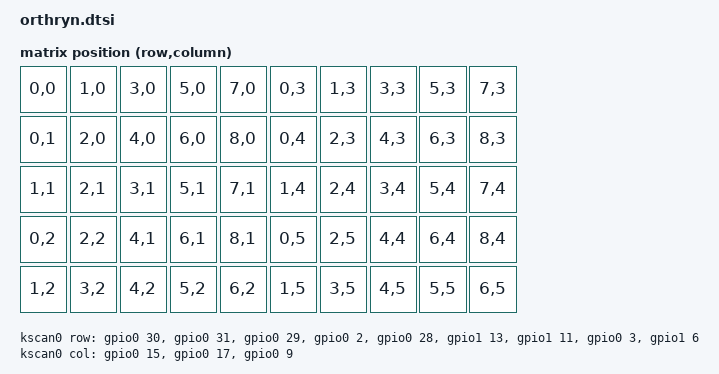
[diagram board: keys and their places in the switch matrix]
/*
 * Copyright (c) 2020 The ZMK Contributors
 *
 * SPDX-License-Identifier: MIT
 */

#include <dt-bindings/zmk/matrix_transform.h>

/ {
	chosen {
		zmk,kscan = &kscan0;
		zmk,matrix_transform = &default_transform;
	};

	kscan0: kscan {
		compatible = "zmk,kscan-gpio-matrix";
		label = "KSCAN";

		diode-direction = "col2row";
		row-gpios
			= <&gpio0 30 (GPIO_ACTIVE_HIGH | GPIO_PULL_DOWN)>
			, <&gpio0 31 (GPIO_ACTIVE_HIGH | GPIO_PULL_DOWN)>
			, <&gpio0 29 (GPIO_ACTIVE_HIGH | GPIO_PULL_DOWN)>
			, <&gpio0 2  (GPIO_ACTIVE_HIGH | GPIO_PULL_DOWN)>
			, <&gpio0 28 (GPIO_ACTIVE_HIGH | GPIO_PULL_DOWN)>
			, <&gpio1 13 (GPIO_ACTIVE_HIGH | GPIO_PULL_DOWN)>
			, <&gpio1 11 (GPIO_ACTIVE_HIGH | GPIO_PULL_DOWN)>
			, <&gpio0 3  (GPIO_ACTIVE_HIGH | GPIO_PULL_DOWN)>
			, <&gpio1 6  (GPIO_ACTIVE_HIGH | GPIO_PULL_DOWN)>
			;
		col-gpios
			= <&gpio0 15 GPIO_ACTIVE_HIGH>
			, <&gpio0 17 GPIO_ACTIVE_HIGH>
			, <&gpio0 9  GPIO_ACTIVE_HIGH>
			;
	};

	default_transform: keymap_transform_0 {
		compatible = "zmk,matrix-transform";
		columns = <10>;
		rows = <5>;
// OLD
// | MX8  | MX9  | MX17 | MX18 | MX25 |  MX33 | MX34 | MX42 | MX43 | MX50 | MX58 | MX59 | MX67 | MX68 | MX75 | 
// | MX6  | MX7  | MX15 | MX16 | MX24 |  MX31 | MX32 | MX40 | MX41 | MX49 | MX56 | MX57 | MX65 | MX66 | MX74 | 
// | MX4  | MX5  | MX13 | MX14 | MX23 |  MX29 | MX30 | MX38 | MX39 | MX48 | MX54 | MX55 | MX63 | MX64 | MX73 |
// | MX2  | MX3  | MX12 | MX21 | MX22 |  MX27 | MX28 | MX37 | MX46 | MX47 | MX52 | MX53 | MX62 | MX71 | MX72 |
// | MX1  | MX10 | MX11 | MX19 | MX20 |  MX26 | MX35 | MX36 | MX44 | MX45 | MX51 | MX60 | MX61 | MX69 | MX70 |

// NEW
// | MX1  | MX2  | MX4  | MX6  | MX8  | MX26 | MX27 | MX29 | MX31 | MX33
// | MX10 | MX3  | MX5  | MX7  | MX9  | MX35 | MX28 | MX30 | MX32 | MX34
// | MX11 | MX12 | MX13 | MX15 | MX17 | MX36 | MX37 | MX38 | MX40 | MX42
// | MX19 | MX21 | MX14 | MX16 | MX18 | MX44 | MX46 | MX39 | MX41 | MX43
// | MX20 | MX22 | MX23 | MX24 | MX25 | MX45 | MX47 | MX48 | MX49 | MX50
        map = <
		// OLD
// RC(7,0) RC(8,0) RC(7,1) RC(8,1) RC(6,2)   RC(7,3) RC(8,3) RC(7,4) RC(8,4) RC(6,5)
// RC(5,0) RC(6,0) RC(5,1) RC(6,1) RC(5,2)   RC(5,3) RC(6,3) RC(5,4) RC(6,4) RC(5,5)
// RC(3,0) RC(4,0) RC(3,1) RC(4,1) RC(4,2)   RC(3,3) RC(4,3) RC(3,4) RC(4,4) RC(4,5)
// RC(1,0) RC(2,0) RC(2,1) RC(2,2) RC(3,2)   RC(1,3) RC(2,3) RC(2,4) RC(2,5) RC(3,5)
// RC(0,0) RC(0,1) RC(1,1) RC(0,2) RC(1,2)   RC(0,3) RC(0,4) RC(1,4) RC(0,5) RC(1,5)
		// NEW
RC(0,0) RC(1,0) RC(3,0) RC(5,0) RC(7,0) RC(0,3) RC(1,3) RC(3,3) RC(5,3) RC(7,3)
RC(0,1) RC(2,0) RC(4,0) RC(6,0) RC(8,0) RC(0,4) RC(2,3) RC(4,3) RC(6,3) RC(8,3)
RC(1,1) RC(2,1) RC(3,1) RC(5,1) RC(7,1) RC(1,4) RC(2,4) RC(3,4) RC(5,4) RC(7,4)
RC(0,2) RC(2,2) RC(4,1) RC(6,1) RC(8,1) RC(0,5) RC(2,5) RC(4,4) RC(6,4) RC(8,4)
RC(1,2) RC(3,2) RC(4,2) RC(5,2) RC(6,2) RC(1,5) RC(3,5) RC(4,5) RC(5,5) RC(6,5)
        >;
	};
};

